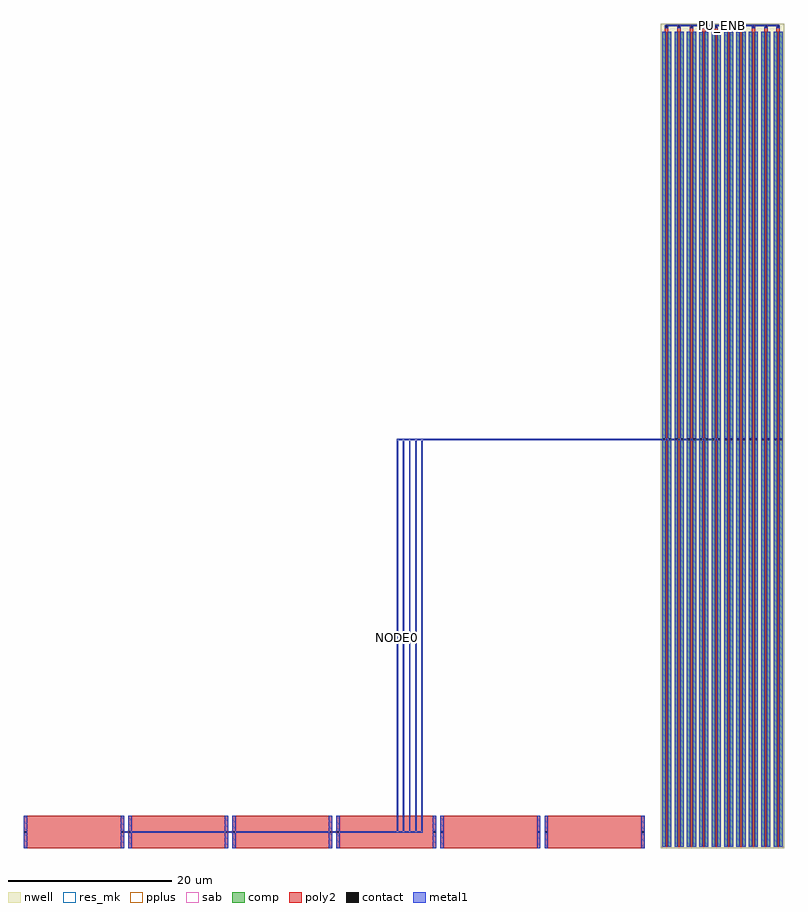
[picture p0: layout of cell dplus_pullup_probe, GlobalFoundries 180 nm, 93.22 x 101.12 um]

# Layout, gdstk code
import gdstk
lib = gdstk.Library(unit=1e-6, precision=1e-09)
def R(c, l, rs):  # rectangles x0, y0, x1, y1
    for r in rs: c.add(gdstk.rectangle(r[:2], r[2:], *l))
def A(c, l, x, y, w, h, nx, ny, dx, dy):  # array of equal rectangles
    R(c, l, [(x+i*dx, y+j*dy, x+i*dx+w, y+j*dy+h) for i in range(nx) for j in range(ny)])
nwell = (21, 0)
comp = (22, 0)
poly2 = (30, 0)
pplus = (31, 0)
contact = (33, 0)
metal1 = (34, 0)
sab = (49, 0)
res_mk = (110, 5)

res_array = lib.new_cell('res_array')
A(res_array, poly2, 0, 0, 12.27, 4, 6, 1, 12.77, 0)
A(res_array, pplus, 0.42, 0, 11.43, 4, 6, 1, 12.77, 0)
R(res_array, contact, [(0.1,1.89,0.32,2.11), (11.95,1.89,12.17,2.11), (12.87,1.89,13.09,2.11), (24.72,1.89,24.94,2.11), (25.64,1.89,25.86,2.11), (37.49,1.89,37.71,2.11), (38.41,1.89,38.63,2.11), (50.26,1.89,50.48,2.11), (51.18,1.89,51.4,2.11), (63.03,1.89,63.25,2.11), (63.95,1.89,64.17,2.11), (75.8,1.89,76.02,2.11)])
R(res_array, metal1, [(0,0,0.42,4), (11.85,0,12.27,4), (12.77,0,13.19,4), (24.62,0,25.04,4), (25.54,0,25.96,4), (37.39,0,37.81,4), (38.31,0,38.73,4), (50.16,0,50.58,4), (51.08,0,51.5,4), (62.93,0,63.35,4), (63.85,0,64.27,4), (75.7,0,76.12,4)])
A(res_array, sab, 0.42, 0, 11.43, 4, 6, 1, 12.77, 0)
A(res_array, res_mk, 0.42, 0, 11.43, 4, 6, 1, 12.77, 0)

r_ladder__r_ladder_0 = lib.new_cell('r_ladder__r_ladder_0')
r_ladder__r_ladder_0.add(gdstk.Reference(res_array, (0,0)))

mos_array = lib.new_cell('mos_array')
R(mos_array, nwell, [(-0.15,-0.15,14.95,100.97)])
A(mos_array, comp, 0, 0, 1.12, 100, 10, 1, 1.52, 0)
A(mos_array, poly2, 0.42, 0, 0.28, 100, 10, 1, 1.52, 0)
A(mos_array, poly2, 0.35, 100, 0.42, 0.82, 10, 1, 1.52, 0)
A(mos_array, contact, 0.45, 100.5, 0.22, 0.22, 10, 1, 1.52, 0)
R(mos_array, contact, [(0.1,49.89,0.32,50.11), (0.8,49.89,1.02,50.11), (1.62,49.89,1.84,50.11), (2.32,49.89,2.54,50.11), (3.14,49.89,3.36,50.11), (3.84,49.89,4.06,50.11), (4.66,49.89,4.88,50.11), (5.36,49.89,5.58,50.11), (6.18,49.89,6.4,50.11), (6.88,49.89,7.1,50.11), (7.7,49.89,7.92,50.11), (8.4,49.89,8.62,50.11), (9.22,49.89,9.44,50.11), (9.92,49.89,10.14,50.11), (10.74,49.89,10.96,50.11), (11.44,49.89,11.66,50.11), (12.26,49.89,12.48,50.11), (12.96,49.89,13.18,50.11), (13.78,49.89,14,50.11), (14.48,49.89,14.7,50.11)])
A(mos_array, metal1, 0.35, 100.4, 0.42, 0.42, 10, 1, 1.52, 0)
R(mos_array, metal1, [(0,0,0.42,100), (0.7,0,1.12,100), (1.52,0,1.94,100), (2.22,0,2.64,100), (3.04,0,3.46,100), (3.74,0,4.16,100), (4.56,0,4.98,100), (5.26,0,5.68,100), (6.08,0,6.5,100), (6.78,0,7.2,100), (7.6,0,8.02,100), (8.3,0,8.72,100), (9.12,0,9.54,100), (9.82,0,10.24,100), (10.64,0,11.06,100), (11.34,0,11.76,100), (12.16,0,12.58,100), (12.86,0,13.28,100), (13.68,0,14.1,100), (14.38,0,14.8,100)])

mp_en__mp_en_0 = lib.new_cell('mp_en__mp_en_0')
mp_en__mp_en_0.add(gdstk.Reference(mos_array, (0,0)))

dplus_pullup_probe = lib.new_cell('dplus_pullup_probe')
R(dplus_pullup_probe, metal1, [(78.62,100.76,79.04,100.93), (80.14,100.76,80.56,100.93), (80.14,100.76,80.56,100.93), (81.66,100.76,82.08,100.93), (81.66,100.76,82.08,100.93), (83.18,100.76,83.6,100.93), (83.18,100.76,83.6,100.93), (84.7,100.76,85.12,100.93), (84.7,100.76,85.12,100.93), (86.22,100.76,86.64,100.93), (86.22,100.76,86.64,100.93), (87.74,100.76,88.16,100.93), (87.74,100.76,88.16,100.93), (89.26,100.76,89.68,100.93), (89.26,100.76,89.68,100.93), (90.78,100.76,91.2,100.93), (90.78,100.76,91.2,100.93), (92.3,100.76,92.72,100.93)])
dplus_pullup_probe.add(gdstk.FlexPath([(12.06,2),(45.79,2),(45.79,50.15),(79.18,50.15)], 0.17, ends="flush", simple_path=True, layer=34, datatype=0))  # metal1
dplus_pullup_probe.add(gdstk.FlexPath([(12.06,2),(46.55,2),(46.55,50.15),(80.7,50.15)], 0.17, ends="flush", simple_path=True, layer=34, datatype=0))  # metal1
dplus_pullup_probe.add(gdstk.FlexPath([(12.06,2),(47.31,2),(47.31,50.15),(82.22,50.15)], 0.17, ends="flush", simple_path=True, layer=34, datatype=0))  # metal1
dplus_pullup_probe.add(gdstk.FlexPath([(12.06,2),(48.07,2),(48.07,50.15),(83.74,50.15)], 0.17, ends="flush", simple_path=True, layer=34, datatype=0))  # metal1
dplus_pullup_probe.add(gdstk.FlexPath([(12.06,2),(48.83,2),(48.83,50.15),(85.26,50.15)], 0.17, ends="flush", simple_path=True, layer=34, datatype=0))  # metal1
dplus_pullup_probe.add(gdstk.FlexPath([(84.91,100.76),(84.91,100.93),(86.43,100.93),(86.43,100.76)], 0.17, ends="flush", simple_path=True, layer=34, datatype=0))  # metal1
dplus_pullup_probe.add(gdstk.FlexPath([(84.91,100.76),(84.91,100.93),(83.39,100.93),(83.39,100.76)], 0.17, ends="flush", simple_path=True, layer=34, datatype=0))  # metal1
dplus_pullup_probe.add(gdstk.FlexPath([(87.95,100.76),(87.95,100.93),(89.47,100.93),(89.47,100.76)], 0.17, ends="flush", simple_path=True, layer=34, datatype=0))  # metal1
dplus_pullup_probe.add(gdstk.FlexPath([(81.87,100.76),(81.87,100.93),(80.35,100.93),(80.35,100.76)], 0.17, ends="flush", simple_path=True, layer=34, datatype=0))  # metal1
dplus_pullup_probe.add(gdstk.FlexPath([(89.47,100.76),(89.47,100.93),(90.99,100.93),(90.99,100.76)], 0.17, ends="flush", simple_path=True, layer=34, datatype=0))  # metal1
dplus_pullup_probe.add(gdstk.FlexPath([(80.35,100.76),(80.35,100.93),(78.83,100.93),(78.83,100.76)], 0.17, ends="flush", simple_path=True, layer=34, datatype=0))  # metal1
dplus_pullup_probe.add(gdstk.FlexPath([(90.99,100.76),(90.99,100.93),(92.51,100.93),(92.51,100.76)], 0.17, ends="flush", simple_path=True, layer=34, datatype=0))  # metal1
dplus_pullup_probe.add(gdstk.FlexPath([(86.43,100.76),(86.43,100.93),(87.95,100.93),(87.95,100.76)], 0.17, ends="flush", simple_path=True, layer=34, datatype=0))  # metal1
dplus_pullup_probe.add(gdstk.FlexPath([(83.39,100.76),(83.39,100.93),(81.87,100.93),(81.87,100.76)], 0.17, ends="flush", simple_path=True, layer=34, datatype=0))  # metal1
dplus_pullup_probe.add(gdstk.Reference(r_ladder__r_ladder_0, (0,0)))
dplus_pullup_probe.add(gdstk.Reference(mp_en__mp_en_0, (78.27,0.15)))
dplus_pullup_probe.add(gdstk.Label('NODE0', (45.79,25.905), layer=34, texttype=10))
dplus_pullup_probe.add(gdstk.Label('PU_ENB', (85.67,100.93), layer=34, texttype=10))

lib.write_gds('dplus_pullup_probe.gds')
